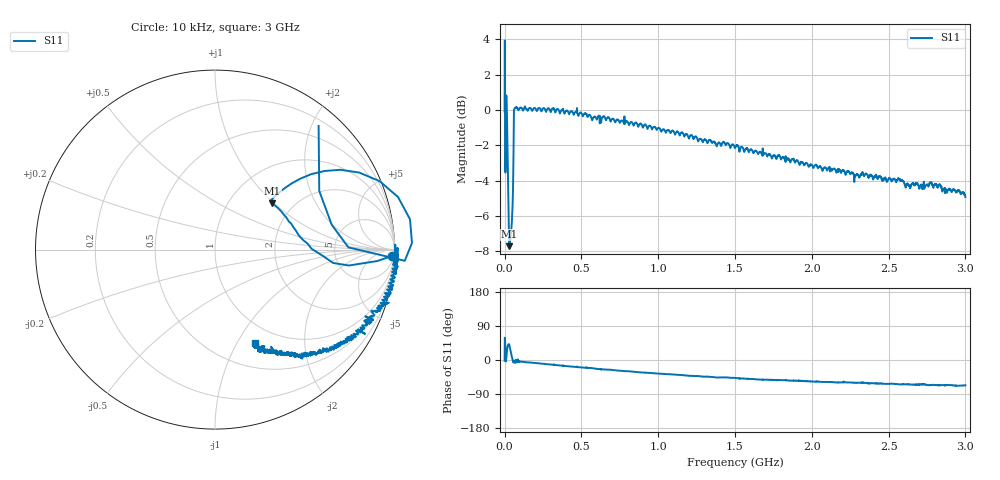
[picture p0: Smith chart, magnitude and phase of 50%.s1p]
# HZ S RI R 50
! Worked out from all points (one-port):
!   2020 points, 10 kHz to 3 GHz, reference 50 ohm
!   lowest |S11| = -7.7 dB at 31.21 MHz (marker M1), VSWR 2.40, Z = 78.6 + j48.8 ohm
!   |S11| at or under -10 dB: nowhere
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10000  0.9889 -0.0365
5953516  0.6505 0.1379
1.635467e7  0.804 0.429
1.784055e7  0.6991 0.4447
1.932643e7  0.61 0.4379
2.378406e7  0.4285 0.3695
2.675582e7  0.358 0.3184
3.121346e7  0.3203 0.2579
3.715698e7  0.3829 0.1955
4.310049e7  0.4381 0.123
5.350164e7  0.5667 -0.0133
6.39028e7  1.005 -0.0485
7.133219e7  1.016 -0.0249
7.578983e7  1.017 0.00944
3.759374e8  0.9661 -0.2619
7.503789e8  0.8099 -0.4343
1.126306e9  0.6766 -0.5447
1.381877e9  0.545 -0.5705
1.500748e9  0.5287 -0.5736
1.664194e9  0.4707 -0.5967
1.875189e9  0.4221 -0.5916
2.071325e9  0.3571 -0.5727
2.251117e9  0.3364 -0.5651
2.573552e9  0.2752 -0.5719
2.625558e9  0.2688 -0.5539
2.725112e9  0.2761 -0.5383
2.769688e9  0.2518 -0.567
3e9  0.2237 -0.5206
